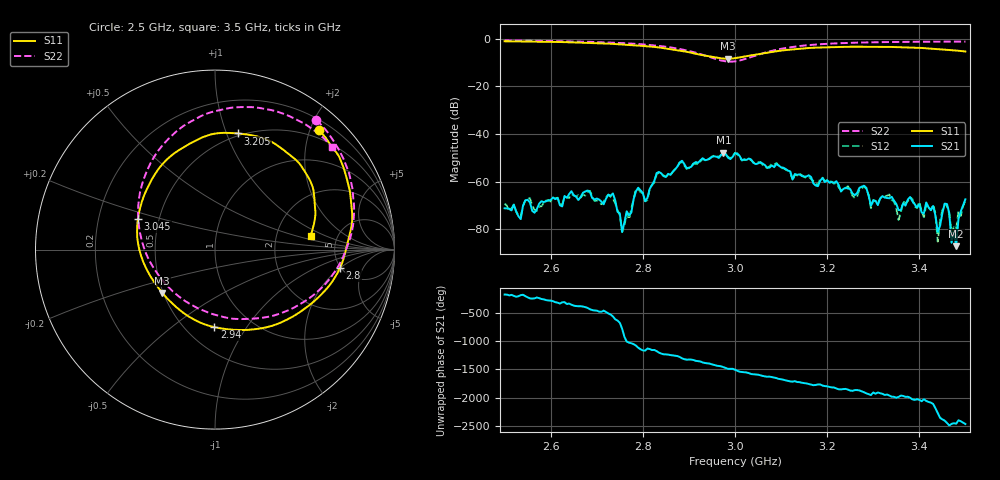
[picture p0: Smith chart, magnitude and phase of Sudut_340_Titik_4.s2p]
# Hz S RI R 50
! CMT, C1220, 16058040, 17.2.0/1
! Date: 15/08/2018 10:36:41
! Data: Format (Calibration Info)
! Freq  S11: Re/Im (F2)  S21: Re/Im (F2)  S12: Re/Im (F2)  S22: Re/Im (F2)
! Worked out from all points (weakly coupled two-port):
!   201 points, 2.5 GHz to 3.5 GHz, reference 50 ohm
!   highest |S21| = -47.86 dB at 2.975 GHz (marker M1); lowest = -87.0 dB at 3.48 GHz (marker M2)
!   lowest |S11| = -8.4 dB at 2.985 GHz (marker M3), VSWR 2.23, Z = 24.7 - j13.9 ohm
!   |S11| at or under -10 dB: nowhere
!   |S22| runs from -9.6 to -0.8 dB; largest |S21 - S12| = 0.00028
!   S11 on the Smith chart (normalised r, x): 2.5 GHz: 0.35, +2.14; 2.8 GHz: 4.93, -1.98; 2.94 GHz: 0.68, -0.72; 3.045 GHz: 0.38, +0.16; 3.205 GHz: 0.48, +1.10; 3.5 GHz: 3.17, +0.70
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2.5e9  0.5781 0.667  -0.000277 -4.06e-06  -0.000348 -1.05e-05  0.5651 0.7222
2.67e9  0.7481 0.3418  0.000499 -0.000307  0.00046 -0.000279  0.7369 0.453
2.735e9  0.7632 0.151  -0.000517 0.000233  -0.000407 0.000174  0.7701 0.2892
2.755e9  0.7492 0.0797  4.32e-05 -7.66e-05  6.31e-05 -6.25e-05  0.7749 0.2295
2.8e9  0.6966 -0.1014  5.17e-05 -0.000576  6.91e-05 -0.000569  0.7554 0.0721
2.835e9  0.6117 -0.2295  -0.000917 -0.00131  -0.000829 -0.0013  0.7019 -0.0651
2.94e9  -0.00314 -0.4323  0.00203 0.00205  0.002 0.00206  0.1797 -0.3862
2.975e9  -0.238 -0.3  0.00375 -0.00153  0.00364 -0.00153  -0.0947 -0.3272
2.985e9  -0.2938 -0.2409  0.00197 -0.00251  0.00216 -0.00246  -0.1682 -0.2854
3e9  -0.363 -0.1431  0.00159 -0.00363  0.00137 -0.00374  -0.2667 -0.2011
3.045e9  -0.4301 0.1711  -0.00205 -0.00113  -0.00216 -0.00123  -0.4241 0.1334
3.17e9  -0.00564 0.6453  0.000867 0.000321  0.000915 0.000489  -0.0798 0.7428
3.205e9  0.1273 0.6469  0.000933 -0.000174  0.000973 -0.00029  0.0499 0.7823
3.28e9  0.3513 0.5778  -0.000205 -0.000797  -0.000209 -0.000784  0.2753 0.7843
3.295e9  0.3869 0.5514  -0.00028 -0.00014  -0.000226 -0.000164  0.3131 0.7777
3.335e9  0.4684 0.482  -0.000431 -0.000122  -0.000519 -0.000141  0.403 0.7484
3.355e9  0.4984 0.4382  -0.000253 2.95e-05  -0.000158 -1.05e-05  0.4407 0.7311
3.43e9  0.5554 0.2546  0.000205 0.000233  0.000234 0.000228  0.5641 0.655
3.44e9  0.5576 0.2289  -3.33e-05 -8.35e-05  -4.96e-05 -2.5e-05  0.5788 0.6427
3.46e9  0.5579 0.1807  8.93e-05 0.000329  5.75e-05 0.000304  0.6048 0.6212
3.48e9  0.5484 0.1313  2.22e-05 3.85e-05  2.95e-05 9.69e-05  0.6284 0.5975
3.5e9  0.5329 0.078  0.000248 0.000349  0.000227 0.000328  0.6512 0.5742
